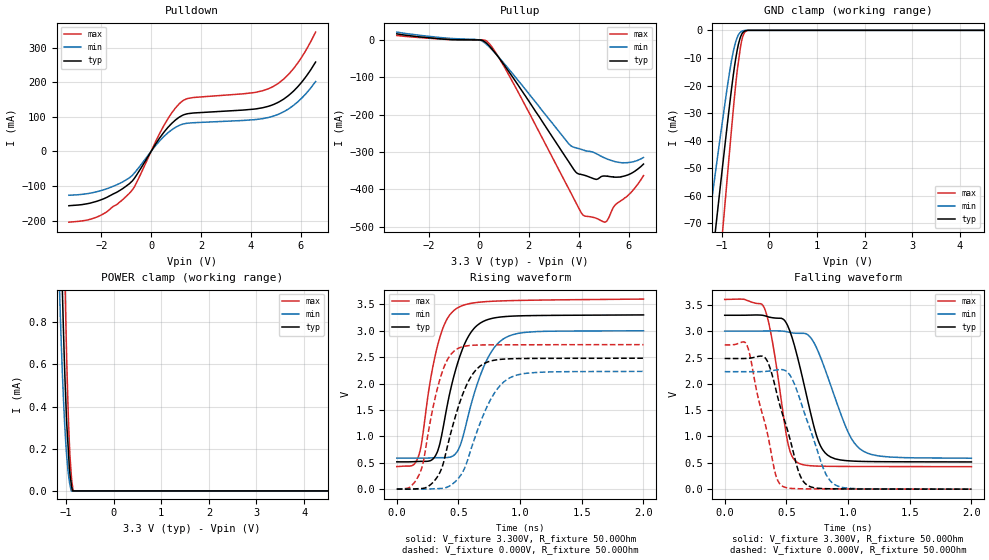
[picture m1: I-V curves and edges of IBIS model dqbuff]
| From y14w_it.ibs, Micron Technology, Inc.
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|   dqbuff MODEL
[Model]   dqbuff
Model_type   I/O
Vinl = 800.000mV
Vinh = 2.000V
Vmeas = 1.500V
Cref = 50.000pF
|   typ   min   max
C_comp   4.150pF   3.800pF   4.500pF
[Voltage Range]   3.300V   3.000V   3.600V
| Junction Temperature (Ambient temp is 25C typ, 85C min, -40C max)
[Temperature Range]   40.0   100.0   -40.0
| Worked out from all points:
|   slope of the pulldown table from 0 to 0.495 V, typ, clamps not added: 9.23 ohm
|   slope of the pullup table from 0 to 0.495 V, typ, clamps not added: 22.1 ohm
|   GND clamp passes 1 mA (typ) near -0.57 V on its own axis
|   POWER clamp passes 1 mA (typ) near -1.08 V on its own axis
|   falling waveform, V_fixture 3.300V, R_fixture 50.00Ohm: 20-80 % time 174ps typ, 229ps min, 124ps max; typ from 3.3 V to 0.517 V
|   rising waveform, V_fixture 3.300V, R_fixture 50.00Ohm: 20-80 % time 180ps typ, 201ps min, 149ps max; typ from 0.517 V to 3.3 V
|   rising waveform, V_fixture 0.000V, R_fixture 50.00Ohm: 20-80 % time 190ps typ, 224ps min, 146ps max; typ from 0 V to 2.48 V
|   falling waveform, V_fixture 0.000V, R_fixture 50.00Ohm: 20-80 % time 173ps typ, 193ps min, 155ps max; typ from 2.48 V to 0 V
[Pulldown]
|   Voltage   I(typ)   I(min)   I(max)
-3.3V     -157mA     -126.8mA   -204.6mA
-2.035V   -140.6mA   -113.8mA   -185.3mA
-865mV    -92.89mA   -76.04mA   -120.6mA
-590mV    -69.13mA   -55.28mA   -91.21mA
515mV     55.45mA    43.26mA    74.97mA
850mV     82.51mA    63.43mA    113.3mA
1.26V     104.3mA    78.64mA    145.8mA
1.695V    111mA      82.85mA    155.7mA
4.115V    122.1mA    91.51mA    169.9mA
4.835V    133.5mA    100.5mA    185.2mA
5.73V     175.4mA    133.9mA    240.6mA
6.6V      258.2mA    201.9mA    344.8mA
[GND Clamp]
|   Voltage   I(typ)   I(min)   I(max)
-3.3V     -878.4mA   -739.1mA   -1.118A
-1.285V   -96.12mA   -71.24mA   -132.9mA
-1.125V   -70.87mA   -50.16mA   -100.8mA
-1.02V    -54.54mA   -36.84mA   -79.85mA
-890mV    -34.68mA   -20.96mA   -53.98mA
-760mV    -16.21mA   -7.669mA   -28.67mA
-680mV    -7.338mA   -2.668mA   -14.92mA
-610mV    -2.475mA   -684.4uA   -6.139mA
-575mV    -1.165mA   -285.3uA   -3.115mA
-515mV    -213.1uA   -27.59uA   -565.7uA
-445mV    0A         0A         0A
6.6V      0A         0A         0A
[Pullup]
|   Voltage   I(typ)   I(min)   I(max)
-3.3V     16.16mA    20.88mA    11.66mA
0V        -10.41uA   -11.44uA   -9.261uA
330mV     -10.62mA   -13.81mA   -4.442mA
1.03V     -69.1mA    -64.93mA   -73.73mA
3.605V    -326.6mA   -278.3mA   -398.8mA
3.875V    -353mA     -288.6mA   -433.7mA
4.185V    -361.4mA   -294.6mA   -469.3mA
4.705V    -373.3mA   -304.4mA   -477.2mA
5.09V     -364.4mA   -317.2mA   -486.8mA
5.43V     -367.1mA   -325mA     -444.2mA
5.965V    -361.5mA   -328.4mA   -416.9mA
6.6V      -332.2mA   -314.7mA   -363.2mA
[POWER Clamp]
|   Voltage   I(typ)   I(min)   I(max)
-3.3V     41.97mA    35.6mA     49.81mA
-1.135V   1.514mA    939.1uA    2.572mA
-1.075V   930.8uA    545.4uA    1.666mA
-1.025V   545.1uA    300.6uA    1.026mA
-1.01V    455.2uA    242.2uA    859.3uA
-985mV    317.7uA    161.1uA    611.7uA
-950mV    184.3uA    78.04uA    339uA
-920mV    84.37uA    30.54uA    174.8uA
-885mV    23.5uA     0A         59.7uA
-865mV    0A         0A         NA
-845mV    0A         0A         0A
6.6V      0A         0A         0A
[Ramp]
R_load = 50.00Ohm
|   typ   min   max
dV/dt_r   1.489V/190.208ps   1.339V/223.793ps   1.644V/146.244ps
dV/dt_f   1.671V/174.022ps   1.448V/228.490ps   1.906V/123.833ps
[Falling Waveform]
V_fixture = 3.300V
V_fixture_min = 3.000V
V_fixture_max = 3.600V
R_fixture = 50.00Ohm
|   Time   V(typ)   V(min)   V(max)
0s        3.302V     3.002V     3.603V
325ps     3.293V     3.003V     3.421V
390ps     3.255V     3.006V     2.76V
510ps     3.107V     2.986V     901.3mV
590ps     2.508V     2.96V      505.3mV
750ps     976.2mV    2.655V     438mV
860ps     608.4mV    1.967V     433.1mV
1.005ns   538mV      1.06V      431.1mV
1.13ns    525.9mV    713mV      430.2mV
2ns       516.8mV    587.8mV    426.9mV
[Rising Waveform]
V_fixture = 3.300V
V_fixture_min = 3.000V
V_fixture_max = 3.600V
R_fixture = 50.00Ohm
|   Time   V(typ)   V(min)   V(max)
0s        516.8mV    587.8mV    426.9mV
125ps     518.4mV    587.4mV    445.1mV
180ps     525.1mV    587mV      650.5mV
315ps     638.3mV    595.2mV    2.57V
385ps     1.283V     595.9mV    3.116V
485ps     2.326V     694.6mV    3.424V
585ps     2.913V     1.448V     3.514V
695ps     3.172V     2.264V     3.549V
865ps     3.268V     2.849V     3.569V
2ns       3.302V     3.002V     3.603V
[Rising Waveform]
V_fixture = 0.000V
V_fixture_min = 0.000V
V_fixture_max = 0.000V
R_fixture = 50.00Ohm
|   Time   V(typ)   V(min)   V(max)
0s        -279.7uV   -369.4uV   -196.9uV
105ps     -175uV     -642.8uV   36.26mV
190ps     9.981mV    -1.184mV   320.2mV
315ps     186.1mV    7.636mV    1.771V
390ps     607.1mV    23.36mV    2.353V
485ps     1.455V     167.7mV    2.651V
650ps     2.279V     1.089V     2.731V
785ps     2.441V     1.797V     2.735V
920ps     2.471V     2.114V     2.736V
2ns       2.481V     2.231V     2.739V
[Falling Waveform]
V_fixture = 0.000V
V_fixture_min = 0.000V
V_fixture_max = 0.000V
R_fixture = 50.00Ohm
|   Time   V(typ)   V(min)   V(max)
0s        2.481V     2.231V     2.739V
180ps     2.483V     2.231V     2.737V
335ps     2.473V     2.237V     1.174V
415ps     1.891V     2.262V     257.6mV
470ps     1.414V     2.269V     54.13mV
545ps     809.6mV    2.099V     13.36mV
635ps     155.5mV    1.525V     6.449mV
805ps     10.23mV    363.5mV    3.633mV
890ps     5.823mV    88.75mV    3.152mV
2ns       -279.7uV   -369.4uV   -196.9uV
